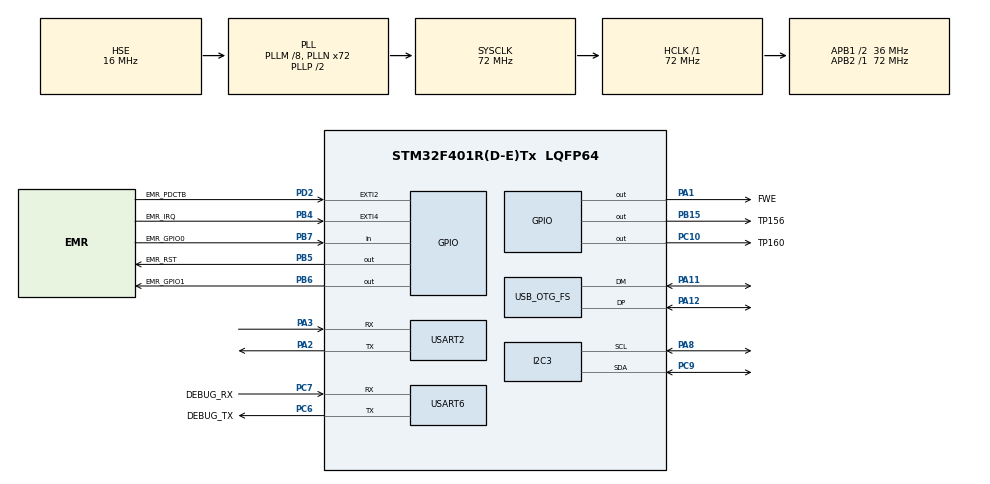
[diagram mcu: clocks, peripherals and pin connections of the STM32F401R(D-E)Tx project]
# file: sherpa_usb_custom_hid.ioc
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I2C3.I2C_Mode=I2C_Fast
Mcu.Family=STM32F4
Mcu.Name=STM32F401R(D-E)Tx
Mcu.Package=LQFP64
NVIC.EXTI2_IRQn=true\:0\:0\:false\:false\:true\:true\:true
NVIC.EXTI4_IRQn=true\:0\:0\:false\:false\:true\:true\:true
NVIC.PriorityGroup=NVIC_PRIORITYGROUP_4
NVIC.USART2_IRQn=true\:1\:0\:true\:false\:true\:true\:true
NVIC.USART6_IRQn=true\:3\:0\:true\:false\:true\:true\:true
PA1.GPIO_Label=FWE
PA1.PinState=GPIO_PIN_RESET
PA1.Signal=GPIO_Output
PA11.Mode=Device_Only
PA11.Signal=USB_OTG_FS_DM
PA12.Mode=Device_Only
PA12.Signal=USB_OTG_FS_DP
PA2.Mode=Asynchronous
PA2.Signal=USART2_TX
PA3.Mode=Asynchronous
PA3.Signal=USART2_RX
PA8.Mode=I2C
PA8.Signal=I2C3_SCL
PB15.GPIO_Label=TP156
PB15.GPIO_PuPd=GPIO_PULLUP
PB15.GPIO_Speed=GPIO_SPEED_FREQ_HIGH
PB15.PinState=GPIO_PIN_SET
PB15.Signal=GPIO_Output
PB4.GPIO_Label=EMR_IRQ
PB4.GPIO_ModeDefaultEXTI=GPIO_MODE_IT_FALLING
PB4.Signal=GPXTI4
PB5.GPIO_Label=EMR_RST
PB5.PinState=GPIO_PIN_SET
PB5.Signal=GPIO_Output
PB6.GPIO_Label=EMR_GPIO1
PB6.PinState=GPIO_PIN_SET
PB6.Signal=GPIO_Output
PB7.GPIO_Label=EMR_GPIO0
PB7.Signal=GPIO_Input
PC10.GPIO_Label=TP160
PC10.PinState=GPIO_PIN_SET
PC10.Signal=GPIO_Output
PC14-OSC32_IN.Mode=LSE-External-Oscillator
PC14-OSC32_IN.Signal=RCC_OSC32_IN
PC15-OSC32_OUT.Mode=LSE-External-Oscillator
PC15-OSC32_OUT.Signal=RCC_OSC32_OUT
PC6.GPIO_Label=DEBUG_TX
PC6.Mode=Asynchronous
PC6.Signal=USART6_TX
PC7.GPIO_Label=DEBUG_RX
PC7.Mode=Asynchronous
PC7.Signal=USART6_RX
PC9.Mode=I2C
PC9.Signal=I2C3_SDA
PD2.GPIO_Label=EMR_PDCTB
PD2.GPIO_ModeDefaultEXTI=GPIO_MODE_IT_FALLING
PD2.Signal=GPXTI2
PH0\ -\ OSC_IN.Mode=HSE-External-Oscillator
PH0\ -\ OSC_IN.Signal=RCC_OSC_IN
PH1\ -\ OSC_OUT.Mode=HSE-External-Oscillator
PH1\ -\ OSC_OUT.Signal=RCC_OSC_OUT
ProjectManager.HeapSize=0x200
ProjectManager.StackSize=0x400
ProjectManager.TargetToolchain=MDK-ARM V5.27
RCC.48MHZClocksFreq_Value=48000000
RCC.AHBFreq_Value=72000000
RCC.APB1CLKDivider=RCC_HCLK_DIV2
RCC.APB1Freq_Value=36000000
RCC.APB1TimFreq_Value=72000000
RCC.APB2Freq_Value=72000000
RCC.APB2TimFreq_Value=72000000
RCC.CortexFreq_Value=72000000
RCC.HCLKFreq_Value=72000000
RCC.HSE_VALUE=16000000
RCC.HSI_VALUE=16000000
RCC.PLLM=8
RCC.PLLN=72
RCC.PLLQ=3
RCC.PLLSourceVirtual=RCC_PLLSOURCE_HSE
RCC.SYSCLKFreq_VALUE=72000000
RCC.SYSCLKSource=RCC_SYSCLKSOURCE_PLLCLK
RCC.VCOOutputFreq_Value=144000000
USART2.VirtualMode=VM_ASYNC
USART6.VirtualMode=VM_ASYNC
USB_DEVICE.CLASS_NAME_FS=CUSTOM_HID
USB_DEVICE.VirtualMode-CUSTOM_HID_FS=CustomHid
USB_DEVICE.VirtualModeFS=Custom_Hid_FS
USB_OTG_FS.VirtualMode=Device_Only
VP_USB_DEVICE_VS_USB_DEVICE_CUSTOM_HID_FS.Mode=CUSTOM_HID_FS
board=custom

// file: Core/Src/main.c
/* USER CODE BEGIN Header */
/**
  ******************************************************************************
  * @file           : main.c
  * @brief          : Main program body
  ******************************************************************************
  * @attention
  *
  * <h2><center>&copy; Copyright (c) 2020 STMicroelectronics.
  * All rights reserved.</center></h2>
  *
  * This software component is licensed by ST under Ultimate Liberty license
  * SLA0044, the "License"; You may not use this file except in compliance with
  * the License. You may obtain a copy of the License at:
  *                             www.st.com/SLA0044
  *
  ******************************************************************************
  */
/* USER CODE END Header */
#include "main.h"
#include "i2c.h"
#include "usart.h"
#include "usb_device.h"
#include "gpio.h"

/* USER CODE BEGIN PTD */
#define EMR_I2C_ADDR_7BIT 0x09
#define EMR_I2C_PACKET_SIZE 8
/* USER CODE END PTD */

/* USER CODE BEGIN PV */
uint8_t EMR_INT = 0 ;
extern I2C_HandleTypeDef hi2c3;
extern UART_HandleTypeDef huart6;
uint8_t pData[EMR_I2C_PACKET_SIZE];
uint8_t aRxBuffer[5];
/* USER CODE END PV */

void SystemClock_Config(void);
/* USER CODE BEGIN PFP */

void Handle_EMR_Data();

/* USER CODE END PFP */

/* USER CODE BEGIN 0 */
int fputc(int32_t ch, FILE *f)
{
    while((USART6->SR&0X40)==0);
    USART6->DR = (uint8_t) ch;
	//HAL_UART_Transmit(&huart6,(uint8_t *)&ch,1,1000);

    return ch;
}

void HAL_UART_RxCpltCallback(UART_HandleTypeDef *huart)
{
    uint8_t data[5];
    if(huart->Instance==USART6)
    {
        data[0] = aRxBuffer[0];
		 memcpy(data,aRxBuffer,5);
		 memset(aRxBuffer,0,5);
        HAL_UART_Transmit(&huart6,(uint8_t*)data,5,1000);

    }
	 if(huart->Instance==USART2)
    {
        data[0] = aRxBuffer[0];
		 memcpy(data,aRxBuffer,5);
		 memset(aRxBuffer,0,5);
        HAL_UART_Transmit(&huart2,(uint8_t*)data,5,1000);

    }
}

void Handle_EMR_Data ()
{
	if(EMR_INT)
	{
		HAL_StatusTypeDef status;
		uint8_t i ;
		status =  HAL_I2C_Master_Receive(&hi2c3, EMR_I2C_ADDR_7BIT, pData, EMR_I2C_PACKET_SIZE, 500);
		if(status == HAL_ERROR)
		{
			printf("i2c HAL_ERROR");
		}
		else if(status == HAL_BUSY)
		{
			printf("i2c HAL_BUSY");
		}
		else if(status == HAL_TIMEOUT)
		{
			printf("i2c HAL_TIMEOUT");
		}
		else if (status == HAL_OK){
			printf("receive EMR Data \n\r");
			for(i=0;i<EMR_I2C_PACKET_SIZE ; i++ )
			printf("0x%x\n\r",pData[i]);
		}
		EMR_INT = 0 ;
	}

}

/* EMR Interrupt */
void HAL_GPIO_EXTI_Callback(uint16_t GPIO_Pin)
{
	if(GPIO_Pin == GPIO_PIN_4)
	{
		EMR_INT = 1;
	}
}
/* USER CODE END 0 */

int main(void)
{

  /* MCU Configuration--------------------------------------------------------*/

  /* Reset of all peripherals, Initializes the Flash interface and the Systick. */
  HAL_Init();

  /* Configure the system clock */
  SystemClock_Config();

  /* Initialize all configured peripherals */
  MX_GPIO_Init();
  MX_I2C3_Init();
  MX_USART2_UART_Init();
  MX_USART6_UART_Init();
 // MX_USB_DEVICE_Init();
  /* USER CODE BEGIN 2 */
 HAL_UART_Receive_IT(&huart6,aRxBuffer, sizeof(aRxBuffer)); //使能接收中斷
 HAL_UART_Receive_IT(&huart2,aRxBuffer, sizeof(aRxBuffer)); //使能接收中斷
	printf("stm32 mcu init done V3\n\r");

  /* USER CODE END 2 */

  /* Infinite loop */
  /* USER CODE BEGIN WHILE */

  HAL_GPIO_WritePin(TP160_GPIO_Port, TP160_Pin, GPIO_PIN_RESET);
  while (1)
  {
    /* USER CODE END WHILE */

    /* USER CODE BEGIN 3 */

#if 1
	//   HAL_Delay(500);
	//  printf("stm32 mcu init done\n\r");
	 // printf("boot test \n\r");
		//HAL_UART_Transmit(&huart6,pData,1,1000);
	//  HAL_GPIO_WritePin(TP160_GPIO_Port, TP160_Pin, GPIO_PIN_SET);
	 // HAL_GPIO_TogglePin(TP160_GPIO_Port, TP160_Pin);
#endif
		Handle_EMR_Data () ;

  }
  /* USER CODE END 3 */
}

void SystemClock_Config(void)
{
  RCC_OscInitTypeDef RCC_OscInitStruct = {0};
  RCC_ClkInitTypeDef RCC_ClkInitStruct = {0};

  /** Configure the main internal regulator output voltage
  */
  __HAL_RCC_PWR_CLK_ENABLE();
  __HAL_PWR_VOLTAGESCALING_CONFIG(PWR_REGULATOR_VOLTAGE_SCALE2);
  /** Initializes the RCC Oscillators according to the specified parameters
  * in the RCC_OscInitTypeDef structure.
  */
  RCC_OscInitStruct.OscillatorType = RCC_OSCILLATORTYPE_HSE;
  RCC_OscInitStruct.HSEState = RCC_HSE_ON;
  RCC_OscInitStruct.PLL.PLLState = RCC_PLL_ON;
  RCC_OscInitStruct.PLL.PLLSource = RCC_PLLSOURCE_HSE;
  RCC_OscInitStruct.PLL.PLLM = 8;
  RCC_OscInitStruct.PLL.PLLN = 72;
  RCC_OscInitStruct.PLL.PLLP = RCC_PLLP_DIV2;
  RCC_OscInitStruct.PLL.PLLQ = 3;
  if (HAL_RCC_OscConfig(&RCC_OscInitStruct) != HAL_OK)
  {
    Error_Handler();
  }
  /** Initializes the CPU, AHB and APB buses clocks
  */
  RCC_ClkInitStruct.ClockType = RCC_CLOCKTYPE_HCLK|RCC_CLOCKTYPE_SYSCLK
                              |RCC_CLOCKTYPE_PCLK1|RCC_CLOCKTYPE_PCLK2;
  RCC_ClkInitStruct.SYSCLKSource = RCC_SYSCLKSOURCE_PLLCLK;
  RCC_ClkInitStruct.AHBCLKDivider = RCC_SYSCLK_DIV1;
  RCC_ClkInitStruct.APB1CLKDivider = RCC_HCLK_DIV2;
  RCC_ClkInitStruct.APB2CLKDivider = RCC_HCLK_DIV1;

  if (HAL_RCC_ClockConfig(&RCC_ClkInitStruct, FLASH_LATENCY_2) != HAL_OK)
  {
    Error_Handler();
  }
}

void Error_Handler(void)
{
  __disable_irq();
  while (1)
  {
  }
}

/************************ (C) COPYRIGHT STMicroelectronics *****END OF FILE****/
